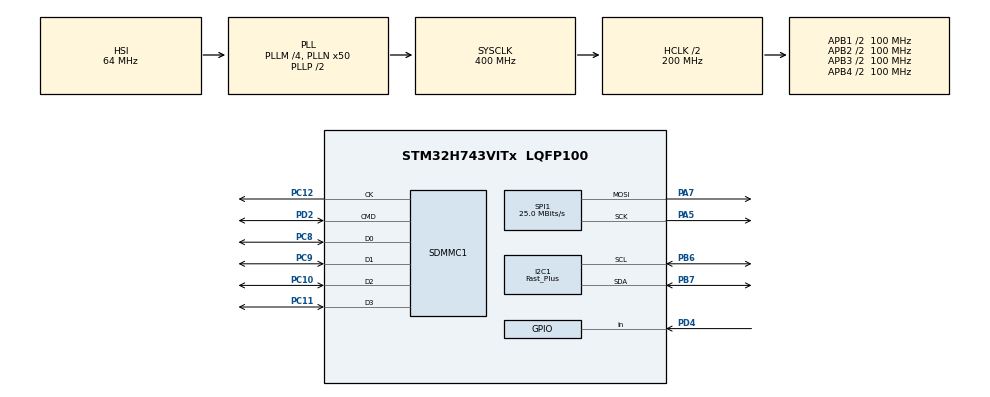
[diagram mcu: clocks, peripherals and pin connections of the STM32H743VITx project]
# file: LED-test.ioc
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CORTEX_M7.default_mode_Activation=1
Dma.Request0=SPI1_TX
Dma.SPI1_TX.0.Direction=DMA_MEMORY_TO_PERIPH
Dma.SPI1_TX.0.EventEnable=DISABLE
Dma.SPI1_TX.0.FIFOMode=DMA_FIFOMODE_DISABLE
Dma.SPI1_TX.0.Instance=DMA1_Stream0
Dma.SPI1_TX.0.MemDataAlignment=DMA_MDATAALIGN_BYTE
Dma.SPI1_TX.0.MemInc=DMA_MINC_ENABLE
Dma.SPI1_TX.0.Mode=DMA_NORMAL
Dma.SPI1_TX.0.PeriphDataAlignment=DMA_PDATAALIGN_BYTE
Dma.SPI1_TX.0.PeriphInc=DMA_PINC_DISABLE
Dma.SPI1_TX.0.Polarity=HAL_DMAMUX_REQ_GEN_RISING
Dma.SPI1_TX.0.Priority=DMA_PRIORITY_HIGH
Dma.SPI1_TX.0.RequestNumber=1
Dma.SPI1_TX.0.SignalID=NONE
Dma.SPI1_TX.0.SyncEnable=DISABLE
Dma.SPI1_TX.0.SyncPolarity=HAL_DMAMUX_SYNC_NO_EVENT
Dma.SPI1_TX.0.SyncRequestNumber=1
Dma.SPI1_TX.0.SyncSignalID=NONE
FATFS.BSP.number=1
FATFS0.BSP.STBoard=false
FATFS0.BSP.api=Unknown
FATFS0.BSP.instance=PD4
FATFS0.BSP.ip=GPIO
FATFS0.BSP.mode=Input
FATFS0.BSP.name=Detect_SDIO
FATFS0.BSP.solution=PD4
I2C1.I2C_Speed_Mode=I2C_Fast_Plus
I2C1.Timing=0x00401242
Mcu.Family=STM32H7
Mcu.Name=STM32H743VITx
Mcu.Package=LQFP100
NVIC.DMA1_Stream0_IRQn=true\:0\:0\:false\:false\:true\:false\:true\:true
NVIC.PriorityGroup=NVIC_PRIORITYGROUP_4
NVIC.SPI1_IRQn=true\:0\:0\:false\:false\:true\:false\:true\:true
PA13\ (JTMS/SWDIO).Mode=Serial_Wire
PA13\ (JTMS/SWDIO).Signal=DEBUG_JTMS-SWDIO
PA14\ (JTCK/SWCLK).Mode=Serial_Wire
PA14\ (JTCK/SWCLK).Signal=DEBUG_JTCK-SWCLK
PA5.GPIO_Speed=GPIO_SPEED_FREQ_VERY_HIGH
PA5.Mode=TX_Only_Simplex_Unidirect_Master
PA5.Signal=SPI1_SCK
PA7.GPIO_Speed=GPIO_SPEED_FREQ_VERY_HIGH
PA7.Mode=TX_Only_Simplex_Unidirect_Master
PA7.Signal=SPI1_MOSI
PB6.GPIO_Speed=GPIO_SPEED_FREQ_VERY_HIGH
PB6.Mode=I2C
PB6.Signal=I2C1_SCL
PB7.GPIO_Speed=GPIO_SPEED_FREQ_VERY_HIGH
PB7.Mode=I2C
PB7.Signal=I2C1_SDA
PC10.Mode=SD_4_bits_Wide_bus
PC10.Signal=SDMMC1_D2
PC11.Mode=SD_4_bits_Wide_bus
PC11.Signal=SDMMC1_D3
PC12.Mode=SD_4_bits_Wide_bus
PC12.Signal=SDMMC1_CK
PC8.Mode=SD_4_bits_Wide_bus
PC8.Signal=SDMMC1_D0
PC9.Mode=SD_4_bits_Wide_bus
PC9.Signal=SDMMC1_D1
PD2.Mode=SD_4_bits_Wide_bus
PD2.Signal=SDMMC1_CMD
PD4.Signal=GPIO_Input
PH0-OSC_IN\ (PH0).Mode=HSE-External-Oscillator
PH0-OSC_IN\ (PH0).Signal=RCC_OSC_IN
PH1-OSC_OUT\ (PH1).Mode=HSE-External-Oscillator
PH1-OSC_OUT\ (PH1).Signal=RCC_OSC_OUT
ProjectManager.HeapSize=0x200
ProjectManager.StackSize=0x2000
ProjectManager.TargetToolchain=STM32CubeIDE
RCC.ADCFreq_Value=129000000
RCC.APB1Freq_Value=100000000
RCC.APB2Freq_Value=100000000
RCC.APB3Freq_Value=100000000
RCC.APB4Freq_Value=100000000
RCC.CortexFreq_Value=400000000
RCC.D1PPRE=RCC_APB3_DIV2
RCC.D2PPRE1=RCC_APB1_DIV2
RCC.D2PPRE2=RCC_APB2_DIV2
RCC.D3PPRE=RCC_APB4_DIV2
RCC.DIVM1=4
RCC.DIVN1=50
RCC.DIVQ1=4
RCC.HCLKFreq_Value=200000000
RCC.HPRE=RCC_HCLK_DIV2
RCC.PLL2FRACN=0
RCC.PLL3FRACN=0
RCC.PLLFRACN=0
RCC.SYSCLKFreq_VALUE=400000000
RCC.SYSCLKSource=RCC_SYSCLKSOURCE_PLLCLK
RCC.USBFreq_Value=200000000
SDMMC1.ClockDiv=12
SPI1.BaudRatePrescaler=SPI_BAUDRATEPRESCALER_8
SPI1.CalculateBaudRate=25.0 MBits/s
SPI1.DataSize=SPI_DATASIZE_8BIT
SPI1.Direction=SPI_DIRECTION_2LINES_TXONLY
SPI1.Mode=SPI_MODE_MASTER
SPI1.VirtualType=VM_MASTER
TIM2.Prescaler=199
VP_FATFS_VS_SDIO.Mode=SDIO
VP_MEMORYMAP_VS_MEMORYMAP.Mode=CurAppReg
VP_TIM2_VS_ClockSourceINT.Mode=Internal
board=custom

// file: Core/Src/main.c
/* USER CODE BEGIN Header */
/**
  ******************************************************************************
  * @file           : main.c
  * @brief          : Main program body
  ******************************************************************************
  * @attention
  *
  * Copyright (c) 2026 STMicroelectronics.
  * All rights reserved.
  *
  * This software is licensed under terms that can be found in the LICENSE file
  * in the root directory of this software component.
  * If no LICENSE file comes with this software, it is provided AS-IS.
  *
  ******************************************************************************
  */
/* USER CODE END Header */
#include "main.h"
#include "fatfs.h"

/* USER CODE BEGIN Includes */
#include "imu_calibration.h"
#include "imu_calibration_session.h"
#include "imu_orientation.h"
#include "lsm6dsv320x_reg.h"
#include "sk9822.h"
#include "wand_file.h"
#include "wand_storage.h"

#include <math.h>
#if defined(DEBUG)
#include <stdio.h>
#endif
/* USER CODE END Includes */

/* USER CODE BEGIN PD */
#define IMU_OUTPUT_DATA_RATE_HZ 1920.0f
#define IMU_ORIENTATION_TIMER_SECONDS_PER_TICK 1.0e-6f
#define IMU_GYRO_ACCEL_BURST_BYTES 12U
#define IMU_TEMPERATURE_UPDATE_PERIOD_MS 67U
#define WAND_DEBUG_STATUS_PERIOD_MS 1000U

#if (WAND1_LED_COUNT != SK9822_LED_COUNT) || \
    (WAND1_SK9822_FRAME_BYTES != SK9822_FRAME_BYTES)
#error "WAND1 and SK9822 layouts must stay identical"
#endif
/* USER CODE END PD */

I2C_HandleTypeDef hi2c1;

SD_HandleTypeDef hsd1;

SPI_HandleTypeDef hspi1;
DMA_HandleTypeDef hdma_spi1_tx;

TIM_HandleTypeDef htim2;

/* USER CODE BEGIN PV */
static stmdev_ctx_t imu_ctx;
static uint8_t imu_orientation_pending_mask = 0U;
static uint8_t imu_orientation_timestamp_valid = 0U;
static uint32_t imu_orientation_last_timestamp_us = 0U;
static uint32_t imu_temperature_last_read_ms = 0U;
static uint32_t wand_last_orientation_update_count = 0U;
static uint32_t wand_requested_sample_index = 0U;
static uint8_t wand_requested_sample_valid = 0U;
static const uint8_t *wand_dma_pending_frame = NULL;
static uint32_t wand_dma_pending_sample_index = 0U;
static uint32_t wand_dma_active_sample_index = 0U;
static volatile uint32_t wand_dma_completed_sample_index = 0U;
static volatile uint32_t wand_dma_callback_error = HAL_SPI_ERROR_NONE;
static volatile uint8_t wand_dma_completion_pending = 0U;
static volatile uint8_t wand_dma_error_pending = 0U;

/* The largest legal WAND1 payload is 1,801 complete 148-byte SK9822
 * frames (266,548 bytes).  STM32H743 RAM_D1 has room for it, so playback
 * performs no SD-card reads after startup. */
static uint8_t wand_payload[WAND1_MAX_PAYLOAD_BYTES]
    __attribute__((aligned(32)));
static wand1_header_t wand_header;
static uint8_t wand_blank_frame[SK9822_FRAME_BYTES];

/** SD/FatFs/WAND preload result. Zero means WAND.POV is ready in RAM. */
volatile int32_t wand_storage_status = WAND_STORAGE_ERROR_ARGUMENT;
/** Nonzero after a complete, CRC-checked WAND.POV has been preloaded. */
volatile uint8_t wand_loaded = 0U;
/** Current wand angle: -90 deg counterclockwise, 0 upright, +90 clockwise. */
volatile float wand_angle_deg = 0.0f;
/** Nearest frame currently selected from the preloaded WAND1 payload. */
volatile uint32_t wand_sample_index = 0U;
/** Number of runtime SK9822 DMA frames completed successfully. */
volatile uint32_t wand_frame_update_count = 0U;
/** Number of SK9822 transmissions attempted, including the boot self-test. */
volatile uint32_t wand_frame_attempt_count = 0U;
/** Number of SK9822 hardware failures; normal HAL_BUSY deferrals are excluded. */
volatile uint32_t wand_spi_error_count = 0U;
/** Most recent HAL SPI result returned while updating the strip. */
volatile int32_t wand_spi_status = HAL_OK;
/** Detailed HAL SPI error flags for the most recent transmission. */
volatile uint32_t wand_spi_hal_error = HAL_SPI_ERROR_NONE;
/** Nonzero while the one permitted SPI1 TX DMA transfer is active. */
volatile uint8_t wand_dma_active = 0U;
/** Nonzero when a newer frame is waiting to replace the active frame. */
volatile uint8_t wand_dma_pending = 0U;
/** Number of requests deferred because DMA or callback bookkeeping was busy. */
volatile uint32_t wand_dma_busy_count = 0U;
/** Number of obsolete pending frames replaced by a newer request. */
volatile uint32_t wand_dma_coalesced_frame_count = 0U;
/** Number of SPI DMA completion callbacks serviced by the main loop. */
volatile uint32_t wand_dma_completion_count = 0U;
/** Number of SPI DMA error callbacks serviced by the main loop. */
volatile uint32_t wand_dma_error_callback_count = 0U;
/** Most recent sample whose full DMA transfer completed successfully. */
volatile uint32_t wand_dma_last_completed_sample_index = 0U;

#if defined(DEBUG)
/** Number of LEDs with nonzero RGB data in the currently selected frame. */
volatile uint32_t wand_selected_lit_led_count = 0U;
/** Set to zero in Live Expressions to stop the one-line-per-second output. */
volatile uint8_t wand_debug_periodic_output_enabled = 0U;
/** Set to zero at the main() breakpoint to skip the RGB boot self-test. */
volatile uint8_t wand_debug_led_self_test_on_boot = 1U;
static uint8_t wand_debug_console_ready = 0U;
static const char *wand_debug_boot_stage = "reset";
#endif

/** Last IMU initialization or read result: 0 means success. */
volatile int32_t imu_status = -1;

/** WHO_AM_I register value; an LSM6DSV320X returns 0x73. */
volatile uint8_t imu_who_am_i = 0U;

/** Active 8-bit I2C address; selected automatically from the SDO/SA0 pin. */
volatile uint8_t imu_i2c_address = LSM6DSV320X_I2C_ADD_L;

/** Number of polling cycles in which at least one new sensor value was read. */
volatile uint32_t imu_sample_count = 0U;
/** Number of combined 12-byte gyro + low-g accelerometer I2C bursts. */
volatile uint32_t imu_gyro_accel_burst_count = 0U;
/** Number of fallback single-sensor reads when only one 1920 Hz DRDY was set. */
volatile uint32_t imu_gyro_accel_split_read_count = 0U;
/** Number of separately serviced 480 Hz high-g samples. */
volatile uint32_t imu_high_g_read_count = 0U;
/** Number of throttled temperature reads (nominally about 15 Hz). */
volatile uint32_t imu_temperature_read_count = 0U;

/** Low-g accelerometer X-axis register value (raw signed counts). */
volatile int16_t imu_accel_x_raw = 0;
/** Low-g accelerometer Y-axis register value (raw signed counts). */
volatile int16_t imu_accel_y_raw = 0;
/** Low-g accelerometer Z-axis register value (raw signed counts). */
volatile int16_t imu_accel_z_raw = 0;
/** Low-g X-axis acceleration in milligravity (mg), configured for +/-4 g. */
volatile float imu_accel_x_mg = 0.0f;
/** Low-g Y-axis acceleration in milligravity (mg), configured for +/-4 g. */
volatile float imu_accel_y_mg = 0.0f;
/** Low-g Z-axis acceleration in milligravity (mg), configured for +/-4 g. */
volatile float imu_accel_z_mg = 0.0f;
/** Calibrated low-g X-axis acceleration in milligravity (mg). */
volatile float imu_accel_x_calibrated_mg = 0.0f;
/** Calibrated low-g Y-axis acceleration in milligravity (mg). */
volatile float imu_accel_y_calibrated_mg = 0.0f;
/** Calibrated low-g Z-axis acceleration in milligravity (mg). */
volatile float imu_accel_z_calibrated_mg = 0.0f;

/** Gyroscope X-axis register value (raw signed counts). */
volatile int16_t imu_gyro_x_raw = 0;
/** Gyroscope Y-axis register value (raw signed counts). */
volatile int16_t imu_gyro_y_raw = 0;
/** Gyroscope Z-axis register value (raw signed counts). */
volatile int16_t imu_gyro_z_raw = 0;
/** X-axis angular rate in degrees per second, configured for +/-4000 dps. */
volatile float imu_gyro_x_dps = 0.0f;
/** Y-axis angular rate in degrees per second, configured for +/-4000 dps. */
volatile float imu_gyro_y_dps = 0.0f;
/** Z-axis angular rate in degrees per second, configured for +/-4000 dps. */
volatile float imu_gyro_z_dps = 0.0f;
/** Calibrated X-axis angular rate in degrees per second. */
volatile float imu_gyro_x_calibrated_dps = 0.0f;
/** Calibrated Y-axis angular rate in degrees per second. */
volatile float imu_gyro_y_calibrated_dps = 0.0f;
/** Calibrated Z-axis angular rate in degrees per second. */
volatile float imu_gyro_z_calibrated_dps = 0.0f;

/** High-g accelerometer X-axis register value (raw signed counts). */
volatile int16_t imu_high_g_x_raw = 0;
/** High-g accelerometer Y-axis register value (raw signed counts). */
volatile int16_t imu_high_g_y_raw = 0;
/** High-g accelerometer Z-axis register value (raw signed counts). */
volatile int16_t imu_high_g_z_raw = 0;
/** High-g X-axis acceleration in milligravity (mg), configured for +/-32 g. */
volatile float imu_high_g_x_mg = 0.0f;
/** High-g Y-axis acceleration in milligravity (mg), configured for +/-32 g. */
volatile float imu_high_g_y_mg = 0.0f;
/** High-g Z-axis acceleration in milligravity (mg), configured for +/-32 g. */
volatile float imu_high_g_z_mg = 0.0f;
/** Calibrated high-g X-axis acceleration in milligravity (mg). */
volatile float imu_high_g_x_calibrated_mg = 0.0f;
/** Calibrated high-g Y-axis acceleration in milligravity (mg). */
volatile float imu_high_g_y_calibrated_mg = 0.0f;
/** Calibrated high-g Z-axis acceleration in milligravity (mg). */
volatile float imu_high_g_z_calibrated_mg = 0.0f;

/** Temperature output register value (raw signed counts). */
volatile int16_t imu_temperature_raw = 0;
/** IMU die temperature in degrees Celsius. */
volatile float imu_temperature_c = 0.0f;

/**
 * Set this to 1 in Live Expressions while stopped at main() to collect a new
 * calibration.  It defaults to 0 so normal boots immediately use the constants
 * compiled into imu_calibration.c.
 */
volatile uint8_t imu_run_calibration_on_boot = 0U;
/* USER CODE END PV */

void SystemClock_Config(void);
static void MPU_Config(void);
static void MX_GPIO_Init(void);
static void MX_DMA_Init(void);
static void MX_I2C1_Init(void);
static void MX_SDMMC1_SD_Init(void);
static void MX_SPI1_Init(void);
static void MX_TIM2_Init(void);
/* USER CODE BEGIN PFP */
static int32_t IMU_Init(void);
static int32_t IMU_ReadAll(void);
static int32_t IMU_ReadSensors(imu_calibration_measurement_t *measurement);
static void WAND_PlayCurrentAngle(void);
static void WAND_ServiceLedDma(void);
static HAL_StatusTypeDef WAND_RequestDmaFrame(const uint8_t *frame,
                                              uint32_t sample_index);
static HAL_StatusTypeDef WAND_TransmitTracked(const uint8_t *frame);
#if defined(DEBUG)
static uint32_t WAND_CountLitLeds(const uint8_t *frame);
static void WAND_DebugPrintStorageStatus(void);
static void WAND_DebugRunLedSelfTest(void);
static void WAND_DebugPoll(void);
extern void initialise_monitor_handles(void);
#endif
/* USER CODE END PFP */

/* USER CODE BEGIN 0 */
static int32_t platform_write(void *handle, uint8_t reg,
                              const uint8_t *buffer, uint16_t length)
{
  HAL_StatusTypeDef result;

  result = HAL_I2C_Mem_Write((I2C_HandleTypeDef *)handle,
                             imu_i2c_address,
                             reg,
                             I2C_MEMADD_SIZE_8BIT,
                             (uint8_t *)buffer,
                             length,
                             5U);

  return (result == HAL_OK) ? 0 : -1;
}

static int32_t platform_read(void *handle, uint8_t reg,
                             uint8_t *buffer, uint16_t length)
{
  HAL_StatusTypeDef result;

  result = HAL_I2C_Mem_Read((I2C_HandleTypeDef *)handle,
                            imu_i2c_address,
                            reg,
                            I2C_MEMADD_SIZE_8BIT,
                            buffer,
                            length,
                            5U);

  return (result == HAL_OK) ? 0 : -1;
}

static void platform_delay(uint32_t milliseconds)
{
  HAL_Delay(milliseconds);
}

static int32_t IMU_Init(void)
{
  uint8_t who_am_i = 0U;

  imu_ctx.write_reg = platform_write;
  imu_ctx.read_reg = platform_read;
  imu_ctx.mdelay = platform_delay;
  imu_ctx.handle = &hi2c1;
  imu_ctx.priv_data = NULL;

  HAL_Delay(20U);

  /* SDO/SA0 selects one of two I2C addresses, so try both. */
  imu_i2c_address = LSM6DSV320X_I2C_ADD_L;
  if ((lsm6dsv320x_device_id_get(&imu_ctx, &who_am_i) != 0) ||
      (who_am_i != LSM6DSV320X_ID))
  {
    imu_i2c_address = LSM6DSV320X_I2C_ADD_H;
    if ((lsm6dsv320x_device_id_get(&imu_ctx, &who_am_i) != 0) ||
        (who_am_i != LSM6DSV320X_ID))
    {
      imu_who_am_i = who_am_i;
      return -1;
    }
  }

  imu_who_am_i = who_am_i;

  if (lsm6dsv320x_sw_por(&imu_ctx) != 0)
    return -2;

  HAL_Delay(10U);

  if (lsm6dsv320x_block_data_update_set(&imu_ctx, PROPERTY_ENABLE) != 0)
    return -3;

  if (lsm6dsv320x_auto_increment_set(&imu_ctx, PROPERTY_ENABLE) != 0)
    return -4;

  if (lsm6dsv320x_xl_full_scale_set(&imu_ctx, LSM6DSV320X_4g) != 0)
    return -5;

  if (lsm6dsv320x_gy_full_scale_set(&imu_ctx, LSM6DSV320X_4000dps) != 0)
    return -6;

  if (lsm6dsv320x_hg_xl_full_scale_set(&imu_ctx, LSM6DSV320X_32g) != 0)
    return -7;

  /* 1.92 kHz is the highest practical polling rate over 1 MHz I2C while
   * leaving enough bandwidth for status, acceleration, and gyro transfers. */
  if (lsm6dsv320x_xl_setup(&imu_ctx,
                           LSM6DSV320X_ODR_AT_1920Hz,
                           LSM6DSV320X_XL_HIGH_PERFORMANCE_MD) != 0)
  {
    return -8;
  }

  /* The +/-4000 dps range avoids clipping a 10 Hz, +/-35 degree wave. */
  if (lsm6dsv320x_gy_setup(&imu_ctx,
                           LSM6DSV320X_ODR_AT_1920Hz,
                           LSM6DSV320X_GY_HIGH_PERFORMANCE_MD) != 0)
  {
    return -9;
  }

  /* High-g accelerometer: keep at 480 samples/second. */
  if (lsm6dsv320x_hg_xl_data_rate_set(
          &imu_ctx,
          LSM6DSV320X_HG_XL_ODR_AT_480Hz,
          PROPERTY_ENABLE) != 0)
  {
    return -10;
  }

  /* Use LPF1 directly.  Bypassing LPF2 removes the former medium-bandwidth
   * filter delay; XL_ULTRA_LIGHT is retained for a regeneration-safe setup. */
  if (lsm6dsv320x_filt_xl_setup(
          &imu_ctx,
          LSM6DSV320X_XL_FILT_LP_LPF1,
          LSM6DSV320X_XL_ULTRA_LIGHT,
          0U) != 0)
  {
    return -11;
  }

  /* Minimum LPF1 filtering gives the lowest sensor-side gyro latency. */
  if (lsm6dsv320x_filt_gy_lp1_bandwidth_set(
          &imu_ctx,
          LSM6DSV320X_GY_ULTRA_LIGHT) != 0)
  {
    return -12;
  }

  if (lsm6dsv320x_filt_gy_lp1_set(
          &imu_ctx,
          PROPERTY_ENABLE) != 0)
  {
    return -13;
  }

  /* Allow the newly enabled high-performance paths to settle. */
  HAL_Delay(50U);
  return 0;
}

static int16_t IMU_DecodeLittleEndianInt16(const uint8_t *bytes)
{
  return (int16_t)((uint16_t)bytes[0] | ((uint16_t)bytes[1] << 8));
}

static void IMU_UpdateLowG(const int16_t raw_axes[3],
                           imu_calibration_measurement_t *measurement)
{
  const imu_vector3_t raw_mg = {
      lsm6dsv320x_from_fs4_to_mg(raw_axes[0]),
      lsm6dsv320x_from_fs4_to_mg(raw_axes[1]),
      lsm6dsv320x_from_fs4_to_mg(raw_axes[2])};
  imu_vector3_t calibrated_mg;

  imu_accel_x_raw = raw_axes[0];
  imu_accel_y_raw = raw_axes[1];
  imu_accel_z_raw = raw_axes[2];
  imu_accel_x_mg = raw_mg.x;
  imu_accel_y_mg = raw_mg.y;
  imu_accel_z_mg = raw_mg.z;
  IMU_AccelApplyCalibration(&imu_low_g_calibration,
                            &raw_mg, &calibrated_mg);
  imu_accel_x_calibrated_mg = calibrated_mg.x;
  imu_accel_y_calibrated_mg = calibrated_mg.y;
  imu_accel_z_calibrated_mg = calibrated_mg.z;

  if (measurement != NULL)
  {
    measurement->low_g_mg = raw_mg;
    measurement->ready_mask |= IMU_SAMPLE_LOW_G_READY;
  }
}

static void IMU_UpdateGyro(const int16_t raw_axes[3],
                           imu_calibration_measurement_t *measurement)
{
  const imu_vector3_t raw_dps = {
      lsm6dsv320x_from_fs4000_to_mdps(raw_axes[0]) / 1000.0f,
      lsm6dsv320x_from_fs4000_to_mdps(raw_axes[1]) / 1000.0f,
      lsm6dsv320x_from_fs4000_to_mdps(raw_axes[2]) / 1000.0f};
  imu_vector3_t calibrated_dps;

  imu_gyro_x_raw = raw_axes[0];
  imu_gyro_y_raw = raw_axes[1];
  imu_gyro_z_raw = raw_axes[2];
  imu_gyro_x_dps = raw_dps.x;
  imu_gyro_y_dps = raw_dps.y;
  imu_gyro_z_dps = raw_dps.z;
  IMU_GyroApplyCalibration(&imu_gyro_calibration,
                           &raw_dps, &calibrated_dps);
  imu_gyro_x_calibrated_dps = calibrated_dps.x;
  imu_gyro_y_calibrated_dps = calibrated_dps.y;
  imu_gyro_z_calibrated_dps = calibrated_dps.z;

  if (measurement != NULL)
  {
    measurement->gyro_dps = raw_dps;
    measurement->ready_mask |= IMU_SAMPLE_GYRO_READY;
  }
}

static void IMU_UpdateHighG(const int16_t raw_axes[3],
                            imu_calibration_measurement_t *measurement)
{
  const imu_vector3_t raw_mg = {
      lsm6dsv320x_from_fs32_to_mg(raw_axes[0]),
      lsm6dsv320x_from_fs32_to_mg(raw_axes[1]),
      lsm6dsv320x_from_fs32_to_mg(raw_axes[2])};
  imu_vector3_t calibrated_mg;

  imu_high_g_x_raw = raw_axes[0];
  imu_high_g_y_raw = raw_axes[1];
  imu_high_g_z_raw = raw_axes[2];
  imu_high_g_x_mg = raw_mg.x;
  imu_high_g_y_mg = raw_mg.y;
  imu_high_g_z_mg = raw_mg.z;
  IMU_AccelApplyCalibration(&imu_high_g_calibration,
                            &raw_mg, &calibrated_mg);
  imu_high_g_x_calibrated_mg = calibrated_mg.x;
  imu_high_g_y_calibrated_mg = calibrated_mg.y;
  imu_high_g_z_calibrated_mg = calibrated_mg.z;

  if (measurement != NULL)
  {
    measurement->high_g_mg = raw_mg;
    measurement->ready_mask |= IMU_SAMPLE_HIGH_G_READY;
  }
}

static void IMU_UpdateOrientation(
    const imu_calibration_measurement_t *measurement)
{
  imu_orientation_pending_mask |=
      measurement->ready_mask &
      (IMU_SAMPLE_LOW_G_READY | IMU_SAMPLE_GYRO_READY);

  if ((imu_orientation_pending_mask &
       (IMU_SAMPLE_LOW_G_READY | IMU_SAMPLE_GYRO_READY)) ==
      (IMU_SAMPLE_LOW_G_READY | IMU_SAMPLE_GYRO_READY))
  {
    const uint32_t timestamp_us = __HAL_TIM_GET_COUNTER(&htim2);
    float sample_period_s = 1.0f / IMU_OUTPUT_DATA_RATE_HZ;

    if (imu_orientation_timestamp_valid != 0U)
    {
      /* Unsigned subtraction also handles the 32-bit timer wrapping. */
      sample_period_s =
          (float)(timestamp_us - imu_orientation_last_timestamp_us) *
          IMU_ORIENTATION_TIMER_SECONDS_PER_TICK;
    }

    imu_orientation_last_timestamp_us = timestamp_us;
    imu_orientation_timestamp_valid = 1U;
    imu_orientation_pending_mask = 0U;

    IMU_OrientationUpdate(imu_gyro_x_calibrated_dps,
                          imu_gyro_y_calibrated_dps,
                          imu_gyro_z_calibrated_dps,
                          imu_accel_x_calibrated_mg,
                          imu_accel_y_calibrated_mg,
                          imu_accel_z_calibrated_mg,
                          sample_period_s);
  }
}

/* Calibration deliberately retains independent sensor reads.  Its acquisition
 * callback needs each source and is kept separate from runtime scheduling. */
static int32_t IMU_ReadSensors(imu_calibration_measurement_t *measurement)
{
  lsm6dsv320x_data_ready_t data_ready = {0};
  int16_t raw_axes[3];
  int16_t raw_temperature;
  uint8_t updated = 0U;

  if (measurement != NULL)
    *measurement = (imu_calibration_measurement_t){0};

  if (lsm6dsv320x_flag_data_ready_get(&imu_ctx, &data_ready) != 0)
    return -20;

  if (data_ready.drdy_xl != 0U)
  {
    if (lsm6dsv320x_acceleration_raw_get(&imu_ctx, raw_axes) != 0)
      return -21;
    IMU_UpdateLowG(raw_axes, measurement);
    updated = 1U;
  }

  if (data_ready.drdy_gy != 0U)
  {
    if (lsm6dsv320x_angular_rate_raw_get(&imu_ctx, raw_axes) != 0)
      return -22;
    IMU_UpdateGyro(raw_axes, measurement);
    updated = 1U;
  }

  if (data_ready.drdy_hgxl != 0U)
  {
    if (lsm6dsv320x_hg_acceleration_raw_get(&imu_ctx, raw_axes) != 0)
      return -23;
    IMU_UpdateHighG(raw_axes, measurement);
    updated = 1U;
  }

  if (data_ready.drdy_temp != 0U)
  {
    if (lsm6dsv320x_temperature_raw_get(&imu_ctx, &raw_temperature) != 0)
      return -24;
    imu_temperature_raw = raw_temperature;
    imu_temperature_c = lsm6dsv320x_from_lsb_to_celsius(raw_temperature);
    updated = 1U;
  }

  if (updated != 0U)
    imu_sample_count++;

  return 0;
}

static int32_t IMU_ReadAll(void)
{
  lsm6dsv320x_data_ready_t data_ready = {0};
  imu_calibration_measurement_t measurement = {0};
  uint8_t gyro_accel_bytes[IMU_GYRO_ACCEL_BURST_BYTES];
  int16_t raw_accel[3];
  int16_t raw_gyro[3];
  int16_t raw_axes[3];
  int16_t raw_temperature;
  uint8_t updated = 0U;

  if (lsm6dsv320x_flag_data_ready_get(&imu_ctx, &data_ready) != 0)
    return -20;

  if ((data_ready.drdy_gy != 0U) && (data_ready.drdy_xl != 0U))
  {
    /* OUTX_L_G..OUTZ_H_A are contiguous and the device auto-increment is on.
     * Byte order matches the ST driver's individual raw-get functions. */
    if (lsm6dsv320x_read_reg(&imu_ctx, LSM6DSV320X_OUTX_L_G,
                             gyro_accel_bytes,
                             IMU_GYRO_ACCEL_BURST_BYTES) != 0)
    {
      return -25;
    }

    raw_gyro[0] = IMU_DecodeLittleEndianInt16(&gyro_accel_bytes[0]);
    raw_gyro[1] = IMU_DecodeLittleEndianInt16(&gyro_accel_bytes[2]);
    raw_gyro[2] = IMU_DecodeLittleEndianInt16(&gyro_accel_bytes[4]);
    raw_accel[0] = IMU_DecodeLittleEndianInt16(&gyro_accel_bytes[6]);
    raw_accel[1] = IMU_DecodeLittleEndianInt16(&gyro_accel_bytes[8]);
    raw_accel[2] = IMU_DecodeLittleEndianInt16(&gyro_accel_bytes[10]);
    IMU_UpdateGyro(raw_gyro, &measurement);
    IMU_UpdateLowG(raw_accel, &measurement);
    imu_gyro_accel_burst_count++;
    updated = 1U;
  }
  else
  {
    /* Preserve data if the two same-rate DRDY bits are briefly out of phase. */
    if (data_ready.drdy_xl != 0U)
    {
      if (lsm6dsv320x_acceleration_raw_get(&imu_ctx, raw_axes) != 0)
        return -21;
      IMU_UpdateLowG(raw_axes, &measurement);
      imu_gyro_accel_split_read_count++;
      updated = 1U;
    }

    if (data_ready.drdy_gy != 0U)
    {
      if (lsm6dsv320x_angular_rate_raw_get(&imu_ctx, raw_axes) != 0)
        return -22;
      IMU_UpdateGyro(raw_axes, &measurement);
      imu_gyro_accel_split_read_count++;
      updated = 1U;
    }
  }

  /* Update Fusion immediately; lower-rate auxiliary reads happen afterwards. */
  IMU_UpdateOrientation(&measurement);

  if (data_ready.drdy_hgxl != 0U)
  {
    if (lsm6dsv320x_hg_acceleration_raw_get(&imu_ctx, raw_axes) != 0)
      return -23;
    IMU_UpdateHighG(raw_axes, NULL);
    imu_high_g_read_count++;
    updated = 1U;
  }

  if ((data_ready.drdy_temp != 0U) &&
      ((uint32_t)(HAL_GetTick() - imu_temperature_last_read_ms) >=
       IMU_TEMPERATURE_UPDATE_PERIOD_MS))
  {
    if (lsm6dsv320x_temperature_raw_get(&imu_ctx, &raw_temperature) != 0)
      return -24;
    imu_temperature_raw = raw_temperature;
    imu_temperature_c = lsm6dsv320x_from_lsb_to_celsius(raw_temperature);
    imu_temperature_last_read_ms = HAL_GetTick();
    imu_temperature_read_count++;
    updated = 1U;
  }

  if (updated != 0U)
    imu_sample_count++;

  return 0;
}

#if defined(DEBUG)
static uint32_t WAND_CountLitLeds(const uint8_t *frame)
{
  uint32_t led;
  uint32_t lit_leds = 0U;

  if (frame == NULL)
    return 0U;

  for (led = 0U; led < SK9822_LED_COUNT; led++)
  {
    const uint32_t offset = SK9822_START_FRAME_BYTES +
                            led * SK9822_BYTES_PER_LED;
    const uint8_t brightness = frame[offset] & 0x1FU;

    if ((brightness != 0U) &&
        ((frame[offset + 1U] != 0U) ||
         (frame[offset + 2U] != 0U) ||
         (frame[offset + 3U] != 0U)))
    {
      lit_leds++;
    }
  }

  return lit_leds;
}
#endif

static HAL_StatusTypeDef WAND_TransmitTracked(const uint8_t *frame)
{
  HAL_StatusTypeDef status;

  wand_frame_attempt_count++;
  status = SK9822_TransmitFrame(&hspi1, frame, SK9822_FRAME_BYTES);
  wand_spi_status = (int32_t)status;
  wand_spi_hal_error = HAL_SPI_GetError(&hspi1);
  if ((status != HAL_OK) && (status != HAL_BUSY))
    wand_spi_error_count++;

  return status;
}

static void WAND_StoreLatestPending(const uint8_t *frame,
                                    uint32_t sample_index)
{
  if (wand_dma_pending != 0U)
    wand_dma_coalesced_frame_count++;

  wand_dma_pending_frame = frame;
  wand_dma_pending_sample_index = sample_index;
  wand_dma_pending = 1U;
}

static HAL_StatusTypeDef WAND_RequestDmaFrame(const uint8_t *frame,
                                              uint32_t sample_index)
{
  HAL_StatusTypeDef status;
  uint32_t primask;

  if (frame == NULL)
    return HAL_ERROR;

  primask = __get_PRIMASK();
  __disable_irq();
  if ((wand_dma_active != 0U) ||
      (wand_dma_completion_pending != 0U) ||
      (wand_dma_error_pending != 0U))
  {
    WAND_StoreLatestPending(frame, sample_index);
    wand_dma_busy_count++;
    if (primask == 0U)
      __enable_irq();
    wand_spi_status = HAL_BUSY;
    return HAL_BUSY;
  }

  /* Reserve the sole DMA slot before interrupts are restored. */
  wand_dma_active_sample_index = sample_index;
  wand_dma_active = 1U;
  if (primask == 0U)
    __enable_irq();

  wand_frame_attempt_count++;
  status = SK9822_TransmitFrameDma(&hspi1, frame, SK9822_FRAME_BYTES);
  wand_spi_status = (int32_t)status;
  wand_spi_hal_error = HAL_SPI_GetError(&hspi1);
  if (status == HAL_OK)
    return status;

  primask = __get_PRIMASK();
  __disable_irq();
  wand_dma_active = 0U;
  if (status == HAL_BUSY)
  {
    /* HAL can still report busy during a narrow state transition.  Retain the
     * frame for a main-loop retry and do not classify this as a failure. */
    WAND_StoreLatestPending(frame, sample_index);
    wand_dma_busy_count++;
  }
  if (primask == 0U)
    __enable_irq();

  if (status != HAL_BUSY)
    wand_spi_error_count++;

  return status;
}

static void WAND_ServiceLedDma(void)
{
  const uint8_t *pending_frame = NULL;
  uint32_t pending_sample_index = 0U;
  uint32_t completed_sample_index = 0U;
  uint32_t callback_error = HAL_SPI_ERROR_NONE;
  uint32_t primask;
  uint8_t completed;
  uint8_t failed;

  primask = __get_PRIMASK();
  __disable_irq();
  completed = wand_dma_completion_pending;
  failed = wand_dma_error_pending;
  if (completed != 0U)
  {
    completed_sample_index = wand_dma_completed_sample_index;
    wand_dma_completion_pending = 0U;
  }
  if (failed != 0U)
  {
    callback_error = wand_dma_callback_error;
    wand_dma_error_pending = 0U;
  }
  if (primask == 0U)
    __enable_irq();

  if (completed != 0U)
  {
    wand_dma_completion_count++;
    wand_frame_update_count++;
    wand_dma_last_completed_sample_index = completed_sample_index;
    wand_spi_status = HAL_OK;
    wand_spi_hal_error = HAL_SPI_ERROR_NONE;
  }
  if (failed != 0U)
  {
    wand_dma_error_callback_count++;
    wand_spi_error_count++;
    wand_spi_status = HAL_ERROR;
    wand_spi_hal_error = callback_error;
  }

  primask = __get_PRIMASK();
  __disable_irq();
  if ((wand_dma_active == 0U) &&
      (wand_dma_completion_pending == 0U) &&
      (wand_dma_error_pending == 0U) &&
      (wand_dma_pending != 0U))
  {
    pending_frame = wand_dma_pending_frame;
    pending_sample_index = wand_dma_pending_sample_index;
    wand_dma_pending = 0U;
  }
  if (primask == 0U)
    __enable_irq();

  if (pending_frame != NULL)
    (void)WAND_RequestDmaFrame(pending_frame, pending_sample_index);
}

void HAL_SPI_TxCpltCallback(SPI_HandleTypeDef *hspi)
{
  if (hspi == &hspi1)
  {
    /* ISR work is intentionally limited to publishing completion state. */
    wand_dma_completed_sample_index = wand_dma_active_sample_index;
    wand_dma_active = 0U;
    wand_dma_completion_pending = 1U;
  }
}

void HAL_SPI_ErrorCallback(SPI_HandleTypeDef *hspi)
{
  if (hspi == &hspi1)
  {
    /* Defer counters, diagnostics, retries, and all printing to main context. */
    wand_dma_callback_error = hspi->ErrorCode;
    wand_dma_active = 0U;
    wand_dma_error_pending = 1U;
  }
}

#if defined(DEBUG)
static const char *WAND_DebugStoragePhaseName(wand_storage_phase_t phase)
{
  switch (phase)
  {
    case WAND_STORAGE_PHASE_ARGUMENT: return "argument";
    case WAND_STORAGE_PHASE_MOUNT: return "mount";
    case WAND_STORAGE_PHASE_OPEN: return "open";
    case WAND_STORAGE_PHASE_HEADER_READ: return "header read";
    case WAND_STORAGE_PHASE_HEADER_VALIDATE: return "header validation";
    case WAND_STORAGE_PHASE_FILE_SIZE: return "file size";
    case WAND_STORAGE_PHASE_CAPACITY: return "RAM capacity";
    case WAND_STORAGE_PHASE_PAYLOAD_READ: return "payload read";
    case WAND_STORAGE_PHASE_PAYLOAD_VALIDATE: return "payload validation";
    case WAND_STORAGE_PHASE_CLOSE: return "close";
    case WAND_STORAGE_PHASE_COMPLETE: return "complete";
    default: return "not started";
  }
}

static const char *WAND_DebugFatFsResultName(int32_t result)
{
  switch ((FRESULT)result)
  {
    case FR_OK: return "FR_OK";
    case FR_DISK_ERR: return "FR_DISK_ERR";
    case FR_INT_ERR: return "FR_INT_ERR";
    case FR_NOT_READY: return "FR_NOT_READY";
    case FR_NO_FILE: return "FR_NO_FILE";
    case FR_NO_PATH: return "FR_NO_PATH";
    case FR_INVALID_NAME: return "FR_INVALID_NAME";
    case FR_DENIED: return "FR_DENIED";
    case FR_EXIST: return "FR_EXIST";
    case FR_INVALID_OBJECT: return "FR_INVALID_OBJECT";
    case FR_WRITE_PROTECTED: return "FR_WRITE_PROTECTED";
    case FR_INVALID_DRIVE: return "FR_INVALID_DRIVE";
    case FR_NOT_ENABLED: return "FR_NOT_ENABLED";
    case FR_NO_FILESYSTEM: return "FR_NO_FILESYSTEM";
    case FR_MKFS_ABORTED: return "FR_MKFS_ABORTED";
    case FR_TIMEOUT: return "FR_TIMEOUT";
    case FR_LOCKED: return "FR_LOCKED";
    case FR_NOT_ENOUGH_CORE: return "FR_NOT_ENOUGH_CORE";
    case FR_TOO_MANY_OPEN_FILES: return "FR_TOO_MANY_OPEN_FILES";
    case FR_INVALID_PARAMETER: return "FR_INVALID_PARAMETER";
    default: return "unknown FRESULT";
  }
}

static const char *WAND_DebugWandResultName(wand_result_t result)
{
  switch (result)
  {
    case WAND_OK: return "WAND_OK";
    case WAND_ERROR_ARGUMENT: return "WAND_ERROR_ARGUMENT";
    case WAND_ERROR_SHORT_HEADER: return "WAND_ERROR_SHORT_HEADER";
    case WAND_ERROR_MAGIC: return "WAND_ERROR_MAGIC";
    case WAND_ERROR_VERSION: return "WAND_ERROR_VERSION";
    case WAND_ERROR_FORMAT: return "WAND_ERROR_FORMAT";
    case WAND_ERROR_HEADER_CRC: return "WAND_ERROR_HEADER_CRC";
    case WAND_ERROR_PAYLOAD_LENGTH: return "WAND_ERROR_PAYLOAD_LENGTH";
    case WAND_ERROR_PAYLOAD_CRC: return "WAND_ERROR_PAYLOAD_CRC";
    case WAND_ERROR_SK9822_FRAME: return "WAND_ERROR_SK9822_FRAME";
    default: return "unknown WAND result";
  }
}

static const char *WAND_DebugHalStatusName(int32_t status)
{
  switch ((HAL_StatusTypeDef)status)
  {
    case HAL_OK: return "HAL_OK";
    case HAL_ERROR: return "HAL_ERROR";
    case HAL_BUSY: return "HAL_BUSY";
    case HAL_TIMEOUT: return "HAL_TIMEOUT";
    default: return "unknown HAL status";
  }
}

static void WAND_DebugPrintStorageStatus(void)
{
  wand_storage_diagnostics_t diagnostics;
  uint32_t sample;
  uint32_t lit_frames = 0U;
  uint32_t lit_led_commands = 0U;

  WAND_StorageGetDiagnostics(&diagnostics);
  if (wand_storage_status != WAND_STORAGE_OK)
  {
    (void)printf(
        "[ERROR][SD] %s load failed: status=%ld, phase=%s, "
        "FatFs=%ld (%s), WAND=%ld (%s).\r\n",
        WAND_STORAGE_FILENAME,
        (long)wand_storage_status,
        WAND_DebugStoragePhaseName(diagnostics.phase),
        (long)diagnostics.fatfs_result,
        WAND_DebugFatFsResultName(diagnostics.fatfs_result),
        (long)diagnostics.wand_result,
        WAND_DebugWandResultName(diagnostics.wand_result));
    (void)printf(
        "[ERROR][SD] bytes_read=%lu, file_bytes=%lu, expected=%lu.\r\n",
        (unsigned long)diagnostics.bytes_read,
        (unsigned long)diagnostics.file_bytes,
        (unsigned long)diagnostics.expected_file_bytes);

    if (wand_storage_status == WAND_STORAGE_ERROR_MOUNT)
    {
      (void)printf(
          "[HINT][SD] Insert a FAT32 card and check PC8-PC12/PD2 plus a "
          "common ground. FR_NO_FILESYSTEM means reformat as FAT32.\r\n");
    }
    else if (wand_storage_status == WAND_STORAGE_ERROR_OPEN)
    {
      (void)printf(
          "[HINT][SD] Copy the binary export to the card root with the exact "
          "8.3 name %s (not WAND.json or WAND.POV.POV).\r\n",
          WAND_STORAGE_FILENAME);
    }
    else
    {
      (void)printf(
          "[HINT][SD] Re-export %s from the current converter and copy it "
          "again; the file was unreadable or failed WAND1 validation.\r\n",
          WAND_STORAGE_FILENAME);
    }
    return;
  }

  for (sample = 0U; sample < wand_header.sample_count; sample++)
  {
    const uint8_t *frame =
        &wand_payload[sample * wand_header.frame_bytes];
    const uint32_t lit_leds = WAND_CountLitLeds(frame);

    lit_led_commands += lit_leds;
    if (lit_leds != 0U)
      lit_frames++;
  }

  (void)printf(
      "[OK][SD] %s loaded and CRC-checked: %lu bytes, %lu frames, "
      "%u LEDs, step=%lu microdegrees.\r\n",
      WAND_STORAGE_FILENAME,
      (unsigned long)wand_header.file_bytes,
      (unsigned long)wand_header.sample_count,
      (unsigned int)wand_header.led_count,
      (unsigned long)wand_header.angle_step_udeg);
  (void)printf(
      "[OK][SD] Image content: %lu/%lu frames and %lu LED commands are "
      "non-black.\r\n",
      (unsigned long)lit_frames,
      (unsigned long)wand_header.sample_count,
      (unsigned long)lit_led_commands);
  if (lit_frames == 0U)
  {
    (void)printf(
        "[WARN][SD] Every stored LED command is black or has brightness "
        "zero; regenerate the image with visible pixels and brightness.\r\n");
  }
}

static void WAND_DebugRunLedSelfTest(void)
{
  uint32_t led;
  HAL_StatusTypeDef status;

  if (wand_debug_led_self_test_on_boot == 0U)
  {
    (void)printf("[SKIP][LED] RGB boot self-test disabled.\r\n");
    return;
  }

  SK9822_MakeBlankFrame(wand_blank_frame, sizeof(wand_blank_frame));
  for (led = 0U; led < SK9822_LED_COUNT; led++)
  {
    const uint32_t offset = SK9822_START_FRAME_BYTES +
                            led * SK9822_BYTES_PER_LED;
    wand_blank_frame[offset] = 0xE1U; /* 1/31 global brightness. */
    if (led < 12U)
      wand_blank_frame[offset + 3U] = 0xFFU; /* Red. */
    else if (led < 24U)
      wand_blank_frame[offset + 2U] = 0xFFU; /* Green. */
    else
      wand_blank_frame[offset + 1U] = 0xFFU; /* Blue. */
  }

  (void)printf(
      "[TEST][LED] Showing low-brightness red/green/blue segments for "
      "1 second.\r\n");
  status = WAND_TransmitTracked(wand_blank_frame);
  (void)printf(
      "[TEST][LED] SPI result=%s, HAL error=0x%08lX.\r\n",
      WAND_DebugHalStatusName((int32_t)status),
      (unsigned long)wand_spi_hal_error);
  if (status == HAL_OK)
  {
    (void)printf(
        "[TEST][LED] If no colors are visible now, inspect 5 V power, "
        "common ground, strip input direction, PA5 clock, PA7 data, and "
        "3.3 V logic compatibility.\r\n");
  }
  HAL_Delay(1000U);

  SK9822_MakeBlankFrame(wand_blank_frame, sizeof(wand_blank_frame));
  status = WAND_TransmitTracked(wand_blank_frame);
  (void)printf(
      "[%s][LED] Boot self-test ended; blank-frame result=%s.\r\n",
      (status == HAL_OK) ? "OK" : "ERROR",
      WAND_DebugHalStatusName((int32_t)status));
}

static void WAND_DebugPoll(void)
{
  static uint32_t last_tick_ms = 0U;
  static uint32_t last_orientation_count = 0U;
  static uint32_t last_blank_sample = UINT32_MAX;
  const uint32_t now_ms = HAL_GetTick();
  uint32_t elapsed_ms;
  uint32_t orientation_delta;
  uint32_t orientation_rate_hz;
  int32_t roll_mdeg;
  int32_t angle_mdeg;

  if (wand_debug_periodic_output_enabled == 0U)
    return;

  if (last_tick_ms == 0U)
  {
    last_tick_ms = now_ms;
    last_orientation_count = imu_orientation_update_count;
    return;
  }

  elapsed_ms = now_ms - last_tick_ms;
  if (elapsed_ms < WAND_DEBUG_STATUS_PERIOD_MS)
    return;

  orientation_delta =
      imu_orientation_update_count - last_orientation_count;
  orientation_rate_hz =
      (orientation_delta * 1000U + elapsed_ms / 2U) / elapsed_ms;
  roll_mdeg = (int32_t)lroundf(imu_orientation_roll_deg * 1000.0f);
  angle_mdeg = (int32_t)lroundf(wand_angle_deg * 1000.0f);

  (void)printf(
      "[RUN] loaded=%u imu=%ld orient=%lu Hz startup=%u roll=%ld mdeg "
      "wand=%ld mdeg frame=%lu/%lu lit=%lu tx_ok=%lu attempts=%lu "
      "dma=%u pending=%u coalesced=%lu busy=%lu spi=%s errors=%lu "
      "hal=0x%08lX burst=%lu split=%lu hg=%lu temp=%lu.\r\n",
      (unsigned int)wand_loaded,
      (long)imu_status,
      (unsigned long)orientation_rate_hz,
      (unsigned int)imu_orientation_startup,
      (long)roll_mdeg,
      (long)angle_mdeg,
      (unsigned long)wand_sample_index,
      (unsigned long)((wand_loaded != 0U) ? wand_header.sample_count : 0U),
      (unsigned long)wand_selected_lit_led_count,
      (unsigned long)wand_frame_update_count,
      (unsigned long)wand_frame_attempt_count,
      (unsigned int)wand_dma_active,
      (unsigned int)wand_dma_pending,
      (unsigned long)wand_dma_coalesced_frame_count,
      (unsigned long)wand_dma_busy_count,
      WAND_DebugHalStatusName(wand_spi_status),
      (unsigned long)wand_spi_error_count,
      (unsigned long)wand_spi_hal_error,
      (unsigned long)imu_gyro_accel_burst_count,
      (unsigned long)imu_gyro_accel_split_read_count,
      (unsigned long)imu_high_g_read_count,
      (unsigned long)imu_temperature_read_count);

  if (orientation_delta == 0U)
  {
    (void)printf(
        "[WARN][IMU] No synchronized accelerometer/gyro orientation update "
        "arrived during this interval.\r\n");
  }
  if ((imu_orientation_startup != 0U) && (now_ms >= 5000U))
  {
    (void)printf(
        "[WAIT][IMU] Fusion is still in startup; playback intentionally "
        "keeps the LEDs blank until startup becomes 0. Hold the wand still.\r\n");
  }
  if ((wand_loaded != 0U) && (imu_orientation_startup == 0U) &&
      (wand_selected_lit_led_count == 0U) &&
      (wand_sample_index != last_blank_sample))
  {
    (void)printf(
        "[INFO][LED] Selected frame %lu contains no illuminated LEDs; "
        "move the wand or inspect that angle in WAND.json.\r\n",
        (unsigned long)wand_sample_index);
    last_blank_sample = wand_sample_index;
  }
  if ((wand_spi_status != HAL_OK) && (wand_spi_status != HAL_BUSY))
  {
    (void)printf(
        "[ERROR][LED] SPI transmission is failing. HAL status=%s, "
        "error=0x%08lX.\r\n",
        WAND_DebugHalStatusName(wand_spi_status),
        (unsigned long)wand_spi_hal_error);
  }

  last_tick_ms = now_ms;
  last_orientation_count = imu_orientation_update_count;
}
#endif

static void WAND_PlayCurrentAngle(void)
{
  uint32_t sample_index;
  int32_t roll_mdeg;
  int32_t angle_mdeg;
  const uint8_t *frame;

  if (imu_orientation_update_count == wand_last_orientation_update_count)
    return;

  wand_last_orientation_update_count = imu_orientation_update_count;
  roll_mdeg = (int32_t)lroundf(imu_orientation_roll_deg * 1000.0f);
  angle_mdeg = WAND_RollToAngleMdeg(roll_mdeg);
  wand_angle_deg = (float)angle_mdeg / 1000.0f;

  if ((wand_loaded == 0U) || (imu_orientation_startup != 0U))
    return;

  sample_index = WAND_AngleToSample(&wand_header, angle_mdeg);
  wand_sample_index = sample_index;

  /* The sensor runs faster than most exported angle grids.  Avoid spending
   * SPI bandwidth when consecutive orientation estimates select one frame. */
  if ((wand_requested_sample_valid != 0U) &&
      (sample_index == wand_requested_sample_index))
  {
    return;
  }

  frame = &wand_payload[sample_index * wand_header.frame_bytes];
#if defined(DEBUG)
  wand_selected_lit_led_count = WAND_CountLitLeds(frame);
#endif
  /* The payload is immutable after startup, so both active and pending DMA
   * pointers remain valid.  Updating this marker before queuing also prevents
   * duplicate requests for the same angle while a transfer is in flight. */
  wand_requested_sample_index = sample_index;
  wand_requested_sample_valid = 1U;
  wand_spi_status = (int32_t)WAND_RequestDmaFrame(frame, sample_index);
}
/* USER CODE END 0 */

int main(void)
{

  /* MPU Configuration--------------------------------------------------------*/
  MPU_Config();

  /* MCU Configuration--------------------------------------------------------*/

  /* Reset of all peripherals, Initializes the Flash interface and the Systick. */
  HAL_Init();

  /* Configure the system clock */
  SystemClock_Config();

  /* USER CODE BEGIN SysInit */
#if defined(DEBUG)
  /* Use the same librdimon semihosting path as imu_calibration_session.c. */
  initialise_monitor_handles();
  (void)setvbuf(stdout, NULL, _IONBF, 0);
  wand_debug_console_ready = 1U;
  wand_debug_boot_stage = "peripheral initialization";
  (void)printf(
      "\r\n[BOOT] STM32 IMU POV wand diagnostics started (Debug build).\r\n");
  (void)printf(
      "[BOOT] Console uses ST-LINK GDB Server semihosting; keep the debugger "
      "connected and resumed.\r\n");
#endif
  /* USER CODE END SysInit */

  /* Initialize all configured peripherals */
  MX_GPIO_Init();
  MX_DMA_Init();
  MX_I2C1_Init();
  MX_SDMMC1_SD_Init();
  MX_SPI1_Init();
  MX_TIM2_Init();
  MX_FATFS_Init();
  /* USER CODE BEGIN 2 */
  /* Keep the strip dark until both the command file and orientation filter
   * are ready.  A missing or invalid SD file remains a visible diagnostic
   * status and does not prevent IMU testing. */
  SK9822_MakeBlankFrame(wand_blank_frame, sizeof(wand_blank_frame));
  wand_spi_status = (int32_t)WAND_TransmitTracked(wand_blank_frame);
#if defined(DEBUG)
  (void)printf(
      "[%s][LED] Initial blank-frame SPI result=%s, HAL error=0x%08lX.\r\n",
      (wand_spi_status == HAL_OK) ? "OK" : "ERROR",
      WAND_DebugHalStatusName(wand_spi_status),
      (unsigned long)wand_spi_hal_error);
  WAND_DebugRunLedSelfTest();
#endif

  wand_storage_status = (int32_t)WAND_StorageLoad(
      wand_payload, sizeof(wand_payload), &wand_header);
  wand_loaded = (wand_storage_status == WAND_STORAGE_OK) ? 1U : 0U;
#if defined(DEBUG)
  WAND_DebugPrintStorageStatus();
#endif

  imu_status = IMU_Init();
#if defined(DEBUG)
  (void)printf(
      "[%s][IMU] initialization status=%ld, WHO_AM_I=0x%02X "
      "(expected 0x%02X), HAL I2C address=0x%02X.\r\n",
      (imu_status == 0) ? "OK" : "ERROR",
      (long)imu_status,
      (unsigned int)imu_who_am_i,
      (unsigned int)LSM6DSV320X_ID,
      (unsigned int)imu_i2c_address);
#endif

  /* Stop here on initialization failure so imu_status stays visible. */
  if (imu_status != 0)
  {
#if defined(DEBUG)
    (void)printf(
        "[FATAL][IMU] Initialization failed at step %ld. Playback cannot "
        "start; inspect the status, WHO_AM_I, wiring, CS high, and SA0.\r\n",
        (long)imu_status);
#endif
    while (1)
    {
      HAL_Delay(100U);
    }
  }

  if (HAL_TIM_Base_Start(&htim2) != HAL_OK)
  {
    imu_status = -30;
#if defined(DEBUG)
    (void)printf("[FATAL][TIM2] Timer start failed; imu_status=-30.\r\n");
#endif
    while (1)
    {
      HAL_Delay(100U);
    }
  }

  IMU_OrientationInitialise(IMU_OUTPUT_DATA_RATE_HZ);
#if defined(DEBUG)
  (void)printf(
      "[OK][IMU] Orientation filter initialized at %lu Hz. LEDs remain "
      "blank while fusion startup=1 (normally about 3 seconds).\r\n",
      (unsigned long)((uint32_t)IMU_OUTPUT_DATA_RATE_HZ));
#endif

  if (imu_run_calibration_on_boot != 0U)
  {
#if defined(DEBUG)
    (void)printf("[BOOT] Entering the requested IMU calibration session.\r\n");
#endif
    imu_status = IMU_RunCalibrationSession(IMU_ReadSensors, HAL_Delay);

    /* Keep the generated constants and status available in Live Expressions. */
    while (1)
    {
      HAL_Delay(100U);
    }
  }
#if defined(DEBUG)
  (void)printf(
      "[BOOT] Entering playback loop: loaded=%u. Runtime status follows once "
      "per second.\r\n",
      (unsigned int)wand_loaded);
#endif
  /* USER CODE END 2 */

  /* Infinite loop */
  /* USER CODE BEGIN WHILE */
  while (1)
  {
    imu_status = IMU_ReadAll();
    WAND_PlayCurrentAngle();
    WAND_ServiceLedDma();
#if defined(DEBUG)
    WAND_DebugPoll();
#endif
    /* USER CODE END WHILE */

  }
}

void SystemClock_Config(void)
{
  RCC_OscInitTypeDef RCC_OscInitStruct = {0};
  RCC_ClkInitTypeDef RCC_ClkInitStruct = {0};

  /** Supply configuration update enable
  */
  HAL_PWREx_ConfigSupply(PWR_LDO_SUPPLY);

  /** Configure the main internal regulator output voltage
  */
  __HAL_PWR_VOLTAGESCALING_CONFIG(PWR_REGULATOR_VOLTAGE_SCALE1);

  while(!__HAL_PWR_GET_FLAG(PWR_FLAG_VOSRDY)) {}

  /** Initializes the RCC Oscillators according to the specified parameters
  * in the RCC_OscInitTypeDef structure.
  */
  RCC_OscInitStruct.OscillatorType = RCC_OSCILLATORTYPE_HSI;
  RCC_OscInitStruct.HSIState = RCC_HSI_DIV1;
  RCC_OscInitStruct.HSICalibrationValue = RCC_HSICALIBRATION_DEFAULT;
  RCC_OscInitStruct.PLL.PLLState = RCC_PLL_ON;
  RCC_OscInitStruct.PLL.PLLSource = RCC_PLLSOURCE_HSI;
  RCC_OscInitStruct.PLL.PLLM = 4;
  RCC_OscInitStruct.PLL.PLLN = 50;
  RCC_OscInitStruct.PLL.PLLP = 2;
  RCC_OscInitStruct.PLL.PLLQ = 4;
  RCC_OscInitStruct.PLL.PLLR = 2;
  RCC_OscInitStruct.PLL.PLLRGE = RCC_PLL1VCIRANGE_3;
  RCC_OscInitStruct.PLL.PLLVCOSEL = RCC_PLL1VCOWIDE;
  RCC_OscInitStruct.PLL.PLLFRACN = 0;
  if (HAL_RCC_OscConfig(&RCC_OscInitStruct) != HAL_OK)
  {
    Error_Handler();
  }

  /** Initializes the CPU, AHB and APB buses clocks
  */
  RCC_ClkInitStruct.ClockType = RCC_CLOCKTYPE_HCLK|RCC_CLOCKTYPE_SYSCLK
                              |RCC_CLOCKTYPE_PCLK1|RCC_CLOCKTYPE_PCLK2
                              |RCC_CLOCKTYPE_D3PCLK1|RCC_CLOCKTYPE_D1PCLK1;
  RCC_ClkInitStruct.SYSCLKSource = RCC_SYSCLKSOURCE_PLLCLK;
  RCC_ClkInitStruct.SYSCLKDivider = RCC_SYSCLK_DIV1;
  RCC_ClkInitStruct.AHBCLKDivider = RCC_HCLK_DIV2;
  RCC_ClkInitStruct.APB3CLKDivider = RCC_APB3_DIV2;
  RCC_ClkInitStruct.APB1CLKDivider = RCC_APB1_DIV2;
  RCC_ClkInitStruct.APB2CLKDivider = RCC_APB2_DIV2;
  RCC_ClkInitStruct.APB4CLKDivider = RCC_APB4_DIV2;

  if (HAL_RCC_ClockConfig(&RCC_ClkInitStruct, FLASH_LATENCY_2) != HAL_OK)
  {
    Error_Handler();
  }
}

static void MX_I2C1_Init(void)
{

  hi2c1.Instance = I2C1;
  hi2c1.Init.Timing = 0x00401242;
  hi2c1.Init.OwnAddress1 = 0;
  hi2c1.Init.AddressingMode = I2C_ADDRESSINGMODE_7BIT;
  hi2c1.Init.DualAddressMode = I2C_DUALADDRESS_DISABLE;
  hi2c1.Init.OwnAddress2 = 0;
  hi2c1.Init.OwnAddress2Masks = I2C_OA2_NOMASK;
  hi2c1.Init.GeneralCallMode = I2C_GENERALCALL_DISABLE;
  hi2c1.Init.NoStretchMode = I2C_NOSTRETCH_DISABLE;
  if (HAL_I2C_Init(&hi2c1) != HAL_OK)
  {
    Error_Handler();
  }

  /** Configure Analogue filter
  */
  if (HAL_I2CEx_ConfigAnalogFilter(&hi2c1, I2C_ANALOGFILTER_ENABLE) != HAL_OK)
  {
    Error_Handler();
  }

  /** Configure Digital filter
  */
  if (HAL_I2CEx_ConfigDigitalFilter(&hi2c1, 0) != HAL_OK)
  {
    Error_Handler();
  }

  /** I2C Enable Fast Mode Plus
  */
  HAL_I2CEx_EnableFastModePlus(I2C_FASTMODEPLUS_I2C1);
  /* USER CODE BEGIN I2C1_Init 2 */
  HAL_I2CEx_EnableFastModePlus(I2C_FASTMODEPLUS_PB6);
  HAL_I2CEx_EnableFastModePlus(I2C_FASTMODEPLUS_PB7);
  /* USER CODE END I2C1_Init 2 */

}

static void MX_SDMMC1_SD_Init(void)
{

  hsd1.Instance = SDMMC1;
  hsd1.Init.ClockEdge = SDMMC_CLOCK_EDGE_RISING;
  hsd1.Init.ClockPowerSave = SDMMC_CLOCK_POWER_SAVE_DISABLE;
  hsd1.Init.BusWide = SDMMC_BUS_WIDE_4B;
  hsd1.Init.HardwareFlowControl = SDMMC_HARDWARE_FLOW_CONTROL_DISABLE;
  hsd1.Init.ClockDiv = 12;
  if (HAL_SD_Init(&hsd1) != HAL_OK)
  {
    Error_Handler();
  }

}

static void MX_SPI1_Init(void)
{

  /* SPI1 parameter configuration*/
  hspi1.Instance = SPI1;
  hspi1.Init.Mode = SPI_MODE_MASTER;
  hspi1.Init.Direction = SPI_DIRECTION_2LINES_TXONLY;
  hspi1.Init.DataSize = SPI_DATASIZE_8BIT;
  hspi1.Init.CLKPolarity = SPI_POLARITY_LOW;
  hspi1.Init.CLKPhase = SPI_PHASE_1EDGE;
  hspi1.Init.NSS = SPI_NSS_SOFT;
  hspi1.Init.BaudRatePrescaler = SPI_BAUDRATEPRESCALER_8;
  hspi1.Init.FirstBit = SPI_FIRSTBIT_MSB;
  hspi1.Init.TIMode = SPI_TIMODE_DISABLE;
  hspi1.Init.CRCCalculation = SPI_CRCCALCULATION_DISABLE;
  hspi1.Init.CRCPolynomial = 0x0;
  hspi1.Init.NSSPMode = SPI_NSS_PULSE_ENABLE;
  hspi1.Init.NSSPolarity = SPI_NSS_POLARITY_LOW;
  hspi1.Init.FifoThreshold = SPI_FIFO_THRESHOLD_01DATA;
  hspi1.Init.TxCRCInitializationPattern = SPI_CRC_INITIALIZATION_ALL_ZERO_PATTERN;
  hspi1.Init.RxCRCInitializationPattern = SPI_CRC_INITIALIZATION_ALL_ZERO_PATTERN;
  hspi1.Init.MasterSSIdleness = SPI_MASTER_SS_IDLENESS_00CYCLE;
  hspi1.Init.MasterInterDataIdleness = SPI_MASTER_INTERDATA_IDLENESS_00CYCLE;
  hspi1.Init.MasterReceiverAutoSusp = SPI_MASTER_RX_AUTOSUSP_DISABLE;
  hspi1.Init.MasterKeepIOState = SPI_MASTER_KEEP_IO_STATE_DISABLE;
  hspi1.Init.IOSwap = SPI_IO_SWAP_DISABLE;
  if (HAL_SPI_Init(&hspi1) != HAL_OK)
  {
    Error_Handler();
  }

}

static void MX_TIM2_Init(void)
{

  TIM_ClockConfigTypeDef sClockSourceConfig = {0};
  TIM_MasterConfigTypeDef sMasterConfig = {0};

  htim2.Instance = TIM2;
  htim2.Init.Prescaler = 199;
  htim2.Init.CounterMode = TIM_COUNTERMODE_UP;
  htim2.Init.Period = 4294967295;
  htim2.Init.ClockDivision = TIM_CLOCKDIVISION_DIV1;
  htim2.Init.AutoReloadPreload = TIM_AUTORELOAD_PRELOAD_DISABLE;
  if (HAL_TIM_Base_Init(&htim2) != HAL_OK)
  {
    Error_Handler();
  }
  sClockSourceConfig.ClockSource = TIM_CLOCKSOURCE_INTERNAL;
  if (HAL_TIM_ConfigClockSource(&htim2, &sClockSourceConfig) != HAL_OK)
  {
    Error_Handler();
  }
  sMasterConfig.MasterOutputTrigger = TIM_TRGO_RESET;
  sMasterConfig.MasterSlaveMode = TIM_MASTERSLAVEMODE_DISABLE;
  if (HAL_TIMEx_MasterConfigSynchronization(&htim2, &sMasterConfig) != HAL_OK)
  {
    Error_Handler();
  }

}

static void MX_DMA_Init(void)
{

  /* DMA controller clock enable */
  __HAL_RCC_DMA1_CLK_ENABLE();

  /* DMA interrupt init */
  /* DMA1_Stream0_IRQn interrupt configuration */
  HAL_NVIC_SetPriority(DMA1_Stream0_IRQn, 0, 0);
  HAL_NVIC_EnableIRQ(DMA1_Stream0_IRQn);

}

static void MX_GPIO_Init(void)
{
  GPIO_InitTypeDef GPIO_InitStruct = {0};

  /* GPIO Ports Clock Enable */
  __HAL_RCC_GPIOH_CLK_ENABLE();
  __HAL_RCC_GPIOA_CLK_ENABLE();
  __HAL_RCC_GPIOC_CLK_ENABLE();
  __HAL_RCC_GPIOD_CLK_ENABLE();
  __HAL_RCC_GPIOB_CLK_ENABLE();

  /*Configure GPIO pin : PD4 */
  GPIO_InitStruct.Pin = GPIO_PIN_4;
  GPIO_InitStruct.Mode = GPIO_MODE_INPUT;
  GPIO_InitStruct.Pull = GPIO_NOPULL;
  HAL_GPIO_Init(GPIOD, &GPIO_InitStruct);

}

 /* MPU Configuration */

void MPU_Config(void)
{
  MPU_Region_InitTypeDef MPU_InitStruct = {0};

  /* Disables the MPU */
  HAL_MPU_Disable();

  /** Initializes and configures the Region and the memory to be protected
  */
  MPU_InitStruct.Enable = MPU_REGION_ENABLE;
  MPU_InitStruct.Number = MPU_REGION_NUMBER0;
  MPU_InitStruct.BaseAddress = 0x0;
  MPU_InitStruct.Size = MPU_REGION_SIZE_4GB;
  MPU_InitStruct.SubRegionDisable = 0x87;
  MPU_InitStruct.TypeExtField = MPU_TEX_LEVEL0;
  MPU_InitStruct.AccessPermission = MPU_REGION_NO_ACCESS;
  MPU_InitStruct.DisableExec = MPU_INSTRUCTION_ACCESS_DISABLE;
  MPU_InitStruct.IsShareable = MPU_ACCESS_SHAREABLE;
  MPU_InitStruct.IsCacheable = MPU_ACCESS_NOT_CACHEABLE;
  MPU_InitStruct.IsBufferable = MPU_ACCESS_NOT_BUFFERABLE;

  HAL_MPU_ConfigRegion(&MPU_InitStruct);
  /* Enables the MPU */
  HAL_MPU_Enable(MPU_PRIVILEGED_DEFAULT);

}

void Error_Handler(void)
{
  /* USER CODE BEGIN Error_Handler_Debug */
#if defined(DEBUG)
  if (wand_debug_console_ready != 0U)
  {
    (void)printf(
        "[FATAL][HAL] Error_Handler reached during %s at tick %lu ms. "
        "I2C error=0x%08lX, SPI error=0x%08lX, SD error=0x%08lX.\r\n",
        wand_debug_boot_stage,
        (unsigned long)HAL_GetTick(),
        (unsigned long)HAL_I2C_GetError(&hi2c1),
        (unsigned long)HAL_SPI_GetError(&hspi1),
        (unsigned long)hsd1.ErrorCode);
    (void)fflush(stdout);
  }
#endif
  __disable_irq();
  while (1)
  {
  }
  /* USER CODE END Error_Handler_Debug */
}
#ifdef USE_FULL_ASSERT
/**
  * @brief  Reports the name of the source file and the source line number
  *         where the assert_param error has occurred.
  * @param  file: pointer to the source file name
  * @param  line: assert_param error line source number
  * @retval None
  */
void assert_failed(uint8_t *file, uint32_t line)
{
  /* USER CODE BEGIN 6 */
#if defined(DEBUG)
  if (wand_debug_console_ready != 0U)
  {
    (void)printf("[FATAL][ASSERT] %s:%lu.\r\n",
                 (const char *)file,
                 (unsigned long)line);
    (void)fflush(stdout);
  }
#else
  (void)file;
  (void)line;
#endif
  /* USER CODE END 6 */
}
#endif /* USE_FULL_ASSERT */
